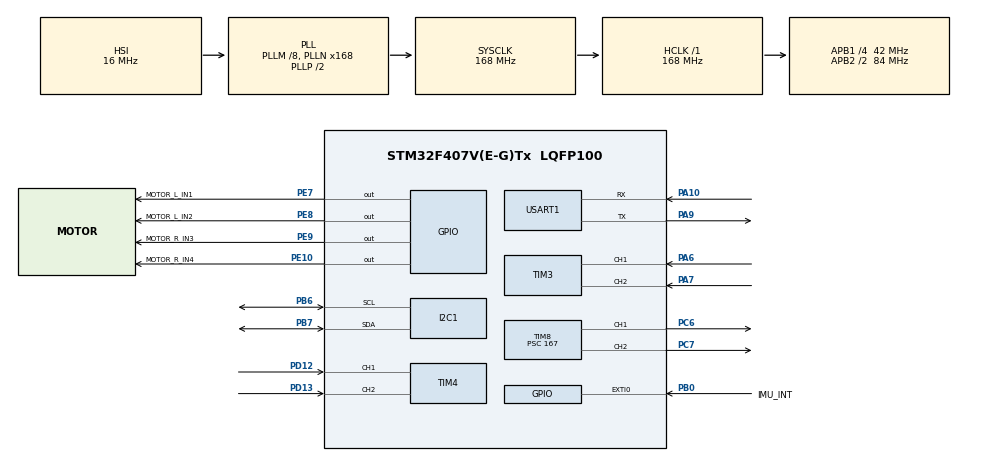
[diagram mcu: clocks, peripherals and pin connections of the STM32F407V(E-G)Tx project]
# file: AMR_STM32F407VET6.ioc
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Dma.Request0=USART1_RX
Dma.Request1=USART1_TX
Dma.USART1_RX.0.Direction=DMA_PERIPH_TO_MEMORY
Dma.USART1_RX.0.FIFOMode=DMA_FIFOMODE_DISABLE
Dma.USART1_RX.0.Instance=DMA2_Stream2
Dma.USART1_RX.0.MemDataAlignment=DMA_MDATAALIGN_BYTE
Dma.USART1_RX.0.MemInc=DMA_MINC_ENABLE
Dma.USART1_RX.0.Mode=DMA_CIRCULAR
Dma.USART1_RX.0.PeriphDataAlignment=DMA_PDATAALIGN_BYTE
Dma.USART1_RX.0.PeriphInc=DMA_PINC_DISABLE
Dma.USART1_RX.0.Priority=DMA_PRIORITY_HIGH
Dma.USART1_TX.1.Direction=DMA_MEMORY_TO_PERIPH
Dma.USART1_TX.1.FIFOMode=DMA_FIFOMODE_DISABLE
Dma.USART1_TX.1.Instance=DMA2_Stream7
Dma.USART1_TX.1.MemDataAlignment=DMA_MDATAALIGN_BYTE
Dma.USART1_TX.1.MemInc=DMA_MINC_ENABLE
Dma.USART1_TX.1.Mode=DMA_NORMAL
Dma.USART1_TX.1.PeriphDataAlignment=DMA_PDATAALIGN_BYTE
Dma.USART1_TX.1.PeriphInc=DMA_PINC_DISABLE
Dma.USART1_TX.1.Priority=DMA_PRIORITY_LOW
FREERTOS.Tasks01=defaultTask,24,3000,StartDefaultTask,Default,NULL,Dynamic,NULL,NULL
FREERTOS.configUSE_NEWLIB_REENTRANT=1
IWDG.Prescaler=IWDG_PRESCALER_256
IWDG.Reload=250
Mcu.Family=STM32F4
Mcu.Name=STM32F407V(E-G)Tx
Mcu.Package=LQFP100
NVIC.DMA2_Stream2_IRQn=true\:5\:0\:false\:false\:true\:true\:false\:true\:true
NVIC.DMA2_Stream7_IRQn=true\:5\:0\:false\:false\:true\:true\:false\:true\:true
NVIC.EXTI0_IRQn=true\:5\:0\:false\:false\:true\:true\:true\:true\:true
NVIC.PriorityGroup=NVIC_PRIORITYGROUP_4
NVIC.TIM6_DAC_IRQn=true\:15\:0\:false\:false\:true\:false\:false\:true\:true
NVIC.TimeBase=TIM6_DAC_IRQn
NVIC.TimeBaseIP=TIM6
NVIC.USART1_IRQn=true\:5\:0\:false\:false\:true\:true\:true\:true\:true
PA10.Mode=Asynchronous
PA10.Signal=USART1_RX
PA13.Mode=Serial_Wire
PA13.Signal=SYS_JTMS-SWDIO
PA14.Mode=Serial_Wire
PA14.Signal=SYS_JTCK-SWCLK
PA6.Signal=S_TIM3_CH1
PA7.Signal=S_TIM3_CH2
PA9.Mode=Asynchronous
PA9.Signal=USART1_TX
PB0.GPIO_Label=IMU_INT
PB0.GPIO_ModeDefaultEXTI=GPIO_MODE_IT_FALLING
PB0.GPIO_PuPd=GPIO_PULLUP
PB0.Signal=GPXTI0
PB6.Mode=I2C
PB6.Signal=I2C1_SCL
PB7.Mode=I2C
PB7.Signal=I2C1_SDA
PC6.Signal=S_TIM8_CH1
PC7.Signal=S_TIM8_CH2
PD12.Signal=S_TIM4_CH1
PD13.Signal=S_TIM4_CH2
PE10.GPIO_Label=MOTOR_R_IN4
PE10.Signal=GPIO_Output
PE7.GPIO_Label=MOTOR_L_IN1
PE7.Signal=GPIO_Output
PE8.GPIO_Label=MOTOR_L_IN2
PE8.Signal=GPIO_Output
PE9.GPIO_Label=MOTOR_R_IN3
PE9.Signal=GPIO_Output
PH0-OSC_IN.Mode=HSE-External-Oscillator
PH0-OSC_IN.Signal=RCC_OSC_IN
PH1-OSC_OUT.Mode=HSE-External-Oscillator
PH1-OSC_OUT.Signal=RCC_OSC_OUT
ProjectManager.HeapSize=0x1000
ProjectManager.StackSize=0x800
ProjectManager.TargetToolchain=STM32CubeIDE
RCC.48MHZClocksFreq_Value=84000000
RCC.AHBFreq_Value=168000000
RCC.APB1CLKDivider=RCC_HCLK_DIV4
RCC.APB1Freq_Value=42000000
RCC.APB1TimFreq_Value=84000000
RCC.APB2CLKDivider=RCC_HCLK_DIV2
RCC.APB2Freq_Value=84000000
RCC.APB2TimFreq_Value=168000000
RCC.CortexFreq_Value=168000000
RCC.HCLKFreq_Value=168000000
RCC.HSE_VALUE=8000000
RCC.HSI_VALUE=16000000
RCC.LSE_VALUE=32768
RCC.PLLM=8
RCC.PLLN=168
RCC.SYSCLKFreq_VALUE=168000000
RCC.SYSCLKSource=RCC_SYSCLKSOURCE_PLLCLK
RCC.VCOOutputFreq_Value=336000000
SH.S_TIM3_CH1.0=TIM3_CH1,Encoder_Interface
SH.S_TIM3_CH2.0=TIM3_CH2,Encoder_Interface
SH.S_TIM4_CH1.0=TIM4_CH1,Encoder_Interface
SH.S_TIM4_CH2.0=TIM4_CH2,Encoder_Interface
SH.S_TIM8_CH1.0=TIM8_CH1,PWM Generation1 CH1
SH.S_TIM8_CH2.0=TIM8_CH2,PWM Generation2 CH2
TIM3.EncoderMode=TIM_ENCODERMODE_TI12
TIM4.EncoderMode=TIM_ENCODERMODE_TI12
TIM8.Channel-PWM\ Generation1\ CH1=TIM_CHANNEL_1
TIM8.Channel-PWM\ Generation2\ CH2=TIM_CHANNEL_2
TIM8.Period=999
TIM8.Prescaler=167
USART1.VirtualMode=VM_ASYNC
VP_FREERTOS_VS_CMSIS_V2.Mode=CMSIS_V2
VP_IWDG_VS_IWDG.Mode=IWDG_Activate
VP_SYS_VS_tim6.Mode=TIM6
VP_TIM8_VS_ClockSourceINT.Mode=Internal
board=custom

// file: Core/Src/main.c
/* USER CODE BEGIN Header */
/**
  ******************************************************************************
  * @file           : main.c
  * @brief          : Main program body
  ******************************************************************************
  * @attention
  *
  * Copyright (c) 2026 STMicroelectronics.
  * All rights reserved.
  *
  * This software is licensed under terms that can be found in the LICENSE file
  * in the root directory of this software component.
  * If no LICENSE file comes with this software, it is provided AS-IS.
  *
  ******************************************************************************
  */
/* USER CODE END Header */
#include "main.h"
#include "cmsis_os.h"
#include "dma.h"
#include "i2c.h"
#include "iwdg.h"
#include "tim.h"
#include "usart.h"
#include "gpio.h"

void SystemClock_Config(void);
void MX_FREERTOS_Init(void);

int main(void)
{

  /* MCU Configuration--------------------------------------------------------*/

  /* Reset of all peripherals, Initializes the Flash interface and the Systick. */
  HAL_Init();

  /* Configure the system clock */
  SystemClock_Config();

  /* Initialize all configured peripherals */
  MX_GPIO_Init();
  MX_DMA_Init();
  MX_TIM3_Init();
  MX_TIM4_Init();
  MX_USART1_UART_Init();
  MX_I2C1_Init();
  MX_TIM8_Init();
  MX_IWDG_Init();
  /* USER CODE BEGIN 2 */
  MX_IWDG_Init();
  /* USER CODE END 2 */

  /* Init scheduler */
  osKernelInitialize();  /* Call init function for freertos objects (in cmsis_os2.c) */
  MX_FREERTOS_Init();

  /* Start scheduler */
  osKernelStart();

  /* We should never get here as control is now taken by the scheduler */

  /* Infinite loop */
  while (1)
  {

  }
}

void SystemClock_Config(void)
{
  RCC_OscInitTypeDef RCC_OscInitStruct = {0};
  RCC_ClkInitTypeDef RCC_ClkInitStruct = {0};

  /** Configure the main internal regulator output voltage
  */
  __HAL_RCC_PWR_CLK_ENABLE();
  __HAL_PWR_VOLTAGESCALING_CONFIG(PWR_REGULATOR_VOLTAGE_SCALE1);

  /** Initializes the RCC Oscillators according to the specified parameters
  * in the RCC_OscInitTypeDef structure.
  */
  RCC_OscInitStruct.OscillatorType = RCC_OSCILLATORTYPE_HSI|RCC_OSCILLATORTYPE_LSI;
  RCC_OscInitStruct.HSIState = RCC_HSI_ON;
  RCC_OscInitStruct.HSICalibrationValue = RCC_HSICALIBRATION_DEFAULT;
  RCC_OscInitStruct.LSIState = RCC_LSI_ON;
  RCC_OscInitStruct.PLL.PLLState = RCC_PLL_ON;
  RCC_OscInitStruct.PLL.PLLSource = RCC_PLLSOURCE_HSI;
  RCC_OscInitStruct.PLL.PLLM = 8;
  RCC_OscInitStruct.PLL.PLLN = 168;
  RCC_OscInitStruct.PLL.PLLP = RCC_PLLP_DIV2;
  RCC_OscInitStruct.PLL.PLLQ = 4;
  if (HAL_RCC_OscConfig(&RCC_OscInitStruct) != HAL_OK)
  {
    Error_Handler();
  }

  /** Initializes the CPU, AHB and APB buses clocks
  */
  RCC_ClkInitStruct.ClockType = RCC_CLOCKTYPE_HCLK|RCC_CLOCKTYPE_SYSCLK
                              |RCC_CLOCKTYPE_PCLK1|RCC_CLOCKTYPE_PCLK2;
  RCC_ClkInitStruct.SYSCLKSource = RCC_SYSCLKSOURCE_PLLCLK;
  RCC_ClkInitStruct.AHBCLKDivider = RCC_SYSCLK_DIV1;
  RCC_ClkInitStruct.APB1CLKDivider = RCC_HCLK_DIV4;
  RCC_ClkInitStruct.APB2CLKDivider = RCC_HCLK_DIV2;

  if (HAL_RCC_ClockConfig(&RCC_ClkInitStruct, FLASH_LATENCY_5) != HAL_OK)
  {
    Error_Handler();
  }
}

void HAL_TIM_PeriodElapsedCallback(TIM_HandleTypeDef *htim)
{
  if (htim->Instance == TIM6)
  {
    HAL_IncTick();
  }
}

void Error_Handler(void)
{
  __disable_irq();
  while (1)
  {
  }
}

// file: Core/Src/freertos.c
/* USER CODE BEGIN Header */
/**
  ******************************************************************************
  * File Name          : freertos.c
  * Description        : Code for freertos applications - ROBUST POLLING MODE
  ******************************************************************************
  */
/* USER CODE END Header */

#include "FreeRTOS.h"
#include "task.h"
#include "main.h"
#include "cmsis_os.h"

/* USER CODE BEGIN Includes */
#include <stdio.h>
#include <string.h>
#include "usart.h"
#include "tim.h"
#include "i2c.h"
#include "motor_control.h"
#include "mpu6050.h"
#include "stm32f4xx_hal_iwdg.h"
#include "iwdg.h"
/* USER CODE END Includes */

/* USER CODE BEGIN Variables */
// UART RX Buffer for receiving velocity commands
#define CMD_BUFFER_SIZE 64
uint8_t uart_rx_buffer[CMD_BUFFER_SIZE];
uint8_t uart_rx_index = 0;

// Safety timeout: Stop motors if no command received
#define CMD_TIMEOUT_MS 2000

// MPU6050 IMU data structure
MPU6050_Data imu_data;
uint8_t imu_initialized = 0;  // Flag: 0 = not initialized, 1 = OK

// IMU statistics (for monitoring)
uint32_t imu_read_count = 0;
uint32_t imu_error_count = 0;
/* USER CODE END Variables */
/* Definitions for defaultTask */
osThreadId_t defaultTaskHandle;
const osThreadAttr_t defaultTask_attributes = {
  .name = "defaultTask",
  .stack_size = 3000 * 4,
  .priority = (osPriority_t) osPriorityNormal,
};

void StartDefaultTask(void *argument);

void MX_FREERTOS_Init(void); /* (MISRA C 2004 rule 8.1) */

void MX_FREERTOS_Init(void) {

  /* Create the thread(s) */
  /* creation of defaultTask */
  defaultTaskHandle = osThreadNew(StartDefaultTask, NULL, &defaultTask_attributes);

}

void StartDefaultTask(void *argument)
{
  /* USER CODE BEGIN StartDefaultTask */

  // 1. Start the Encoders
  HAL_TIM_Encoder_Start(&htim3, TIM_CHANNEL_ALL);
  HAL_TIM_Encoder_Start(&htim4, TIM_CHANNEL_ALL);

  // 2. Initialize Motor Control System
  Motor_Init();

  // 3. IMU Initialization with proper I2C full reset between retries
    osDelay(500);

    for (int attempt = 0; attempt < 5; attempt++) {

        // Full peripheral reset before each attempt.
        // This is much stronger than __HAL_I2C_DISABLE/__HAL_I2C_ENABLE.
        // DeInit releases the peripheral completely, then MX_I2C1_Init
        // re-applies all clock and GPIO settings from scratch.
        HAL_I2C_DeInit(&hi2c1);
        osDelay(20);
        MX_I2C1_Init();
        osDelay(50);

        HAL_StatusTypeDef init_result = MPU6050_Init(&hi2c1);

        if (init_result == HAL_OK) {
            imu_initialized = 1;
            char init_msg[] = "[IMU:OK]\r\n";
            HAL_UART_Transmit(&huart1, (uint8_t*)init_msg, strlen(init_msg), 100);
            break;
        }

        char fail_msg[32];
        int flen = snprintf(fail_msg, sizeof(fail_msg), "[IMU:RETRY:%d]\r\n", attempt + 1);
        HAL_UART_Transmit(&huart1, (uint8_t*)fail_msg, flen, 100);
        osDelay(300);
    }

    if (!imu_initialized) {
        char init_msg[] = "[IMU:FAIL:CHECK_WIRING]\r\n";
        HAL_UART_Transmit(&huart1, (uint8_t*)init_msg, strlen(init_msg), 100);
    }

  // 4. Start UART RX Interrupt untuk menerima perintah motor dari Raspberry
  HAL_UART_Receive_IT(&huart1, &uart_rx_buffer[uart_rx_index], 1);

  char tx_buffer[128];
  int16_t left_ticks = 0;
  int16_t right_ticks = 0;

  static int16_t prev_left_ticks  = 0;
  static int16_t prev_right_ticks = 0;
  uint32_t last_telemetry_tick = HAL_GetTick();

  // LOOP UTAMA - BERJALAN TEPAT DI 100Hz (Setiap 10ms)
  for(;;)
  {
	  // A. BACA ENCODER RODA SECARA KONTINU + HITUNG DELTA + JALANKAN PID
	  left_ticks  = (int16_t)__HAL_TIM_GET_COUNTER(&htim4);
	  right_ticks = (int16_t)__HAL_TIM_GET_COUNTER(&htim3);

	  // Compute delta with overflow handling
	  int32_t delta_left  = (int32_t)left_ticks  - (int32_t)prev_left_ticks;
	  int32_t delta_right = (int32_t)right_ticks - (int32_t)prev_right_ticks;
	  if (delta_left  >  32767) delta_left  -= 65536;
	  if (delta_left  < -32768) delta_left  += 65536;
	  if (delta_right >  32767) delta_right -= 65536;
	  if (delta_right < -32768) delta_right += 65536;

	  // Accumulate delta for PID to consume
	  g_encoder_left_delta  += delta_left;
	  g_encoder_right_delta += delta_right;

	  // Store current as previous for next cycle
	  prev_left_ticks  = left_ticks;
	  prev_right_ticks = right_ticks;

	  // Run PID velocity controller (reads g_encoder deltas and outputs PWM)
	  Motor_PID_Update();

      // B. BACA IMU SECARA PAKSA (POLLING) - TANPA PEDULI INTERUPSI
      if (imu_initialized) {
          // Hanya satu transaksi I2C tunggal untuk mencegah kemacetan bus
          if (MPU6050_ReadData(&hi2c1, &imu_data) == HAL_OK) {
              imu_read_count++;
          } else {
				imu_error_count++;
				if (imu_error_count > 5) {
					// Full re-init, same as startup recovery
					HAL_I2C_DeInit(&hi2c1);
					osDelay(5);
					MX_I2C1_Init();
					osDelay(10);
					if (MPU6050_Init(&hi2c1) == HAL_OK) {
						imu_error_count = 0;
						char msg[] = "[IMU:RECOVERED]\r\n";
						HAL_UART_Transmit(&huart1, (uint8_t*)msg, strlen(msg), 100);
					} else {
						imu_initialized = 0;
						imu_error_count = 0;
					}
				}
			}
      }

      // B2. PERIODIC RE-INIT if IMU was lost at runtime
            if (!imu_initialized) {
                static uint32_t reinit_counter = 0;
                reinit_counter++;
                if (reinit_counter >= 500) {  // Every 5 seconds (500 x 10ms)
                    reinit_counter = 0;
                    HAL_I2C_DeInit(&hi2c1);
                    osDelay(5);
                    MX_I2C1_Init();
                    osDelay(50);
                    if (MPU6050_Init(&hi2c1) == HAL_OK) {
                        imu_initialized = 1;
                        imu_error_count = 0;
                        char msg[] = "[IMU:RECOVERED]\r\n";
                        HAL_UART_Transmit(&huart1, (uint8_t*)msg, strlen(msg), 100);
                    }
                }
            }

      // C. TELEMETRI KE RASPBERRY PI (Dikirim setiap 5 siklus = 20Hz)
		uint32_t now_tick = HAL_GetTick();
		uint32_t elapsed_ms = now_tick - last_telemetry_tick;

		if (elapsed_ms >= 50) {
			last_telemetry_tick = now_tick;
			int len;

			if (imu_initialized) {
				// Konversi ke bilangan bulat agar komunikasi Serial lebih ringan
				int16_t gz_mrad = (int16_t)(imu_data.gyro_z * 1000);
				int16_t ax_cm = (int16_t)(imu_data.accel_x * 100);
				int16_t ay_cm = (int16_t)(imu_data.accel_y * 100);
				int16_t az_cm = (int16_t)(imu_data.accel_z * 100);

				len = sprintf(tx_buffer,
					"{\"l\":%d,\"r\":%d,\"gz\":%d,\"ax\":%d,\"ay\":%d,\"az\":%d,\"rd\":%lu,\"err\":%lu,\"dt\":%lu}\r\n",
					left_ticks,
					right_ticks,
					gz_mrad,
					ax_cm,
					ay_cm,
					az_cm,
					imu_read_count, // Indikator kesuksesan baca
					imu_error_count, // Indikator kemacetan
					(unsigned long)elapsed_ms  // NEW: actual ms since last telemetry
				);
			} else {
				len = sprintf(tx_buffer, "{\"l\":%d,\"r\":%d,\"dt\":%lu}\r\n",
					left_ticks, right_ticks, (unsigned long)elapsed_ms);
			}

			if (len > 0) {
				HAL_UART_Transmit(&huart1, (uint8_t*)tx_buffer, len, 10);
			}
		}

      // D. SAFETY TIMEOUT MOTOR
      if (Motor_CheckTimeout(HAL_GetTick(), CMD_TIMEOUT_MS)) {
          Motor_Emergency_Stop();
      }

      //E. WATCHDOG FEED
      HAL_IWDG_Refresh(&hiwdg);

      // JEDA SIKLUS MUTLAK 10 MILIDETIK (100Hz)
      osDelay(10);
  }
  /* USER CODE END StartDefaultTask */
}

/* USER CODE BEGIN Application */
void HAL_UART_RxCpltCallback(UART_HandleTypeDef *huart)
{
    if (huart->Instance == USART1) {
        uint8_t received_byte = uart_rx_buffer[uart_rx_index];

        if (received_byte == '\n' || received_byte == '\r') {
            if (uart_rx_index == 0) {
                HAL_UART_Receive_IT(&huart1, &uart_rx_buffer[uart_rx_index], 1);
                return;
            }

            uart_rx_buffer[uart_rx_index] = '\0';

            int16_t v_cmd = 0;
            int16_t w_cmd = 0;

            if (sscanf((char*)uart_rx_buffer, "V:%hd,W:%hd", &v_cmd, &w_cmd) == 2) {

                // Correct differential drive kinematics
                // v_cmd in mm/s, w_cmd in mrad/s, wheelbase = 292mm
                // angular_contribution = w_rad * wheelbase/2 = (w_cmd/1000) * 146
                int16_t angular_contribution = (int16_t)((w_cmd * 146) / 1000);

                int16_t left_speed  = v_cmd - angular_contribution;
                int16_t right_speed = v_cmd + angular_contribution;

                // MINIMUM SPEED GUARANTEE FOR PURE ROTATION
                // When v_cmd is zero (pure rotation), if the angular contribution
                // is too small to overcome motor deadband, boost it to minimum
                // moving speed while preserving direction sign.
                // Left deadband ends at ~47 mm/s, right at ~65 mm/s.
                // We use 80 mm/s as safe minimum for both wheels.
                #define MIN_ROTATION_SPEED_MMPS 80

                if (v_cmd == 0 && w_cmd != 0) {
                    if (left_speed > 0 && left_speed < MIN_ROTATION_SPEED_MMPS)
                        left_speed = MIN_ROTATION_SPEED_MMPS;
                    else if (left_speed < 0 && left_speed > -MIN_ROTATION_SPEED_MMPS)
                        left_speed = -MIN_ROTATION_SPEED_MMPS;

                    if (right_speed > 0 && right_speed < MIN_ROTATION_SPEED_MMPS)
                        right_speed = MIN_ROTATION_SPEED_MMPS;
                    else if (right_speed < 0 && right_speed > -MIN_ROTATION_SPEED_MMPS)
                        right_speed = -MIN_ROTATION_SPEED_MMPS;
                }

                Motor_SetTargetSpeed(left_speed, right_speed);
            }

            uart_rx_index = 0;

        } else {
            uart_rx_index++;
            if (uart_rx_index >= (CMD_BUFFER_SIZE - 1)) {
                uart_rx_index = 0;
            }
        }

        HAL_UART_Receive_IT(&huart1, &uart_rx_buffer[uart_rx_index], 1);
    }
}

void HAL_GPIO_EXTI_Callback(uint16_t GPIO_Pin)
{
    // Tidak melakukan apa-apa.
}

void vApplicationStackOverflowHook(TaskHandle_t xTask, char *pcTaskName)
{
    // Matikan motor segera supaya robot tidak lari
    Motor_Emergency_Stop();

    // Kirim pesan debug ke Pi supaya kamu tahu task mana yang overflow
    char msg[80];
    int len = snprintf(msg, sizeof(msg),
        "[FATAL] Stack overflow in task: %s\r\n", pcTaskName);
    HAL_UART_Transmit(&huart1, (uint8_t*)msg, len, 100);

    // Tunggu sebentar supaya pesan terkirim,
    // lalu biarkan IWDG reset STM32 otomatis dalam 8 detik
    HAL_Delay(500);
    while(1) {}
}

void vApplicationMallocFailedHook(void)
{
    Motor_Emergency_Stop();

    char msg[] = "[FATAL] FreeRTOS heap exhausted\r\n";
    HAL_UART_Transmit(&huart1, (uint8_t*)msg, strlen(msg), 100);

    HAL_Delay(500);
    while(1) {}
}
/* USER CODE END Application */
